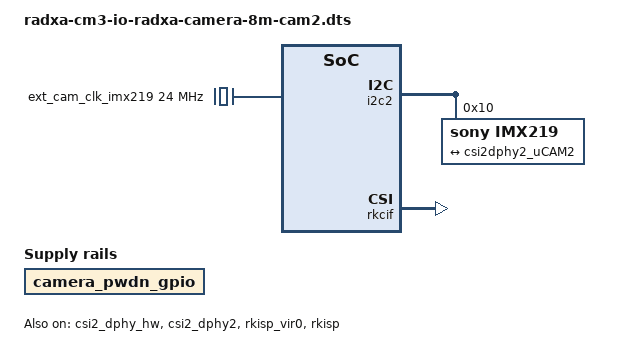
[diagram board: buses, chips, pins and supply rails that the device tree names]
/dts-v1/;
/plugin/;

#include <dt-bindings/gpio/gpio.h>
#include <dt-bindings/pinctrl/rockchip.h>

/ {
	metadata {
		title = "Enable Radxa Camera 8M 219 on CM3 IO v1.34+ CAM2";
		compatible = "radxa,cm3-io";
		category = "camera";
		exclusive = "csi2_dphy2";
		description = "Enable Radxa Camera 8M 219 on CM3 IO v1.34+ CAM1.";
	};
};

&{/} {
	ext_cam_clk_imx219: ext-cam-clk-imx219 {
		status = "okay";
		compatible = "fixed-clock";
		clock-frequency = <24000000>;
		clock-output-names = "ext_cam_clk_imx219";
		#clock-cells = <0>;
	};

	camera_pwdn_gpio: camera-pwdn-gpio {
		status = "okay";
		compatible = "regulator-fixed";
		regulator-name = "camera_pwdn_gpio";
		regulator-always-on;
		regulator-boot-on;
		enable-active-high;
		pwdn-gpios = <&gpio3 RK_PC3 GPIO_ACTIVE_HIGH>;
		pinctrl-names = "default";
		pinctrl-0 = <&cam_pwdn_gpio>;
	};
};

&i2c2 {
	status = "okay";
	pinctrl-names = "default";
	pinctrl-0 = <&i2c2m1_xfer>;

	#address-cells = <1>;
	#size-cells = <0>;

	imx219: imx219@10 {
		status = "okay";
		compatible = "sony,imx219";
		reg = <0x10>;

		clocks = <&ext_cam_clk_imx219>;
		clock-names = "ext_cam_clk_imx219";

		rotation = <180>;

		rockchip,camera-module-index = <1>;
		rockchip,camera-module-facing = "back";
		rockchip,camera-module-name = "RADXA-CAMERA-8M";
		rockchip,camera-module-lens-name = "default";

		port {
			imx219_out: endpoint {
				remote-endpoint = <&csi2dphy2_uCAM2>;
				data-lanes = <1 2>;
			};
		};
	};
};

&csi2_dphy_hw {
	status = "okay";
};

&csi2_dphy2 {
	status = "okay";

	ports {
		#address-cells = <1>;
		#size-cells = <0>;

		port@0 {
			reg = <0>;
			#address-cells = <1>;
			#size-cells = <0>;

			csi2dphy2_uCAM2: endpoint@1 {
				reg = <1>;
				remote-endpoint = <&imx219_out>;
				data-lanes = <1 2>;
			};
		};

		port@1 {
			reg = <1>;
			#address-cells = <1>;
			#size-cells = <0>;

			csi2dphy2_out: endpoint@1 {
				reg = <1>;
				remote-endpoint = <&isp0_in>;
			};
		};
	};
};

&rkisp_vir0 {
	status = "okay";

	port {
		#address-cells = <1>;
		#size-cells = <0>;

		isp0_in: endpoint@0 {
			reg = <0>;
			remote-endpoint = <&csi2dphy2_out>;
		};
	};
};

&rkisp {
	status = "okay";
};

&rkisp_mmu {
	status = "okay";
};

&rkcif_mmu {
	status = "okay";
};

&rkcif {
	status = "okay";
};


&pinctrl {
	camera {
		cam_pwdn_gpio: cam-pwdn-gpio {
			rockchip,pins = <3 RK_PC3 RK_FUNC_GPIO &pcfg_pull_up>;
		};
	};
};
